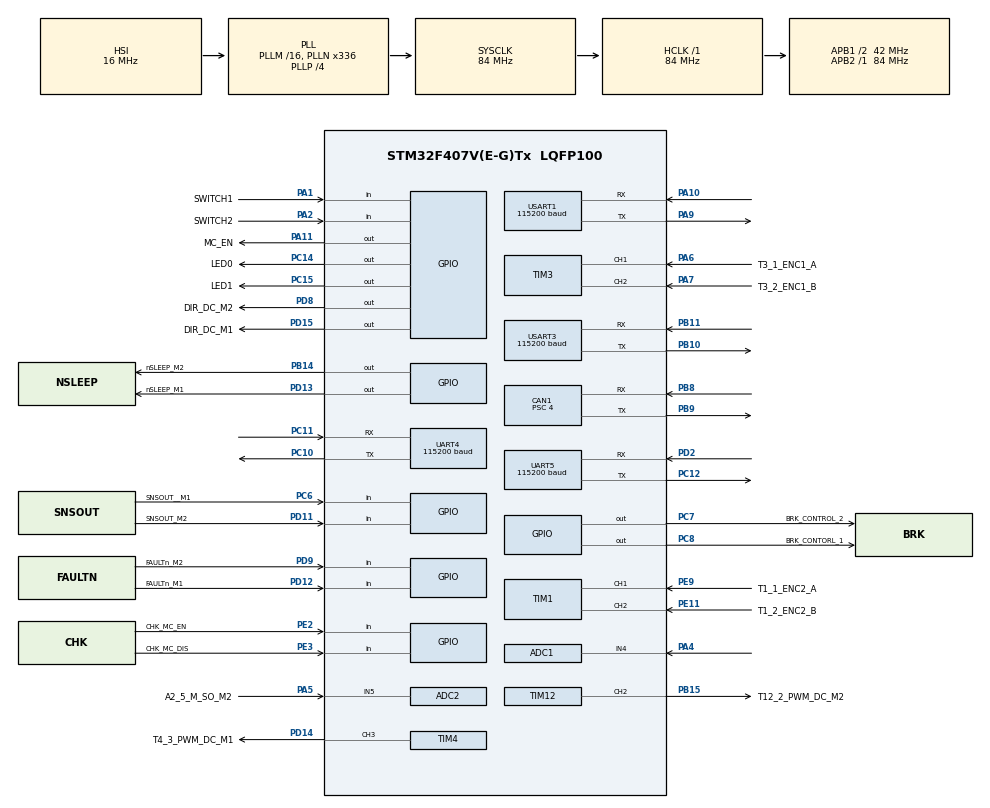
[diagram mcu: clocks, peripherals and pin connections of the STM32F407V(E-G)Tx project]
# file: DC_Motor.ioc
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ADC1.Channel-0\#ChannelRegularConversion=ADC_CHANNEL_4
ADC1.ClockPrescaler=ADC_CLOCK_SYNC_PCLK_DIV4
ADC1.NbrOfConversionFlag=1
ADC1.Rank-0\#ChannelRegularConversion=1
ADC1.SamplingTime-0\#ChannelRegularConversion=ADC_SAMPLETIME_3CYCLES
ADC1.master=1
ADC2.Channel-0\#ChannelRegularConversion=ADC_CHANNEL_5
ADC2.ClockPrescaler=ADC_CLOCK_SYNC_PCLK_DIV4
ADC2.NbrOfConversionFlag=1
ADC2.Rank-0\#ChannelRegularConversion=1
ADC2.SamplingTime-0\#ChannelRegularConversion=ADC_SAMPLETIME_3CYCLES
CAN1.BS1=CAN_BS1_14TQ
CAN1.BS2=CAN_BS2_6TQ
CAN1.CalculateBaudRate=500000
CAN1.CalculateTimeBit=2000
CAN1.CalculateTimeQuantum=95.23809523809524
CAN1.Prescaler=4
Dma.ADC2.2.Direction=DMA_PERIPH_TO_MEMORY
Dma.ADC2.2.FIFOMode=DMA_FIFOMODE_DISABLE
Dma.ADC2.2.Instance=DMA2_Stream3
Dma.ADC2.2.MemDataAlignment=DMA_MDATAALIGN_HALFWORD
Dma.ADC2.2.MemInc=DMA_MINC_ENABLE
Dma.ADC2.2.Mode=DMA_NORMAL
Dma.ADC2.2.PeriphDataAlignment=DMA_PDATAALIGN_HALFWORD
Dma.ADC2.2.PeriphInc=DMA_PINC_DISABLE
Dma.ADC2.2.Priority=DMA_PRIORITY_LOW
Dma.Request0=UART4_RX
Dma.Request1=USART3_RX
Dma.Request2=ADC2
Dma.Request3=USART1_RX
Dma.Request4=UART5_RX
Dma.UART4_RX.0.Direction=DMA_PERIPH_TO_MEMORY
Dma.UART4_RX.0.FIFOMode=DMA_FIFOMODE_DISABLE
Dma.UART4_RX.0.Instance=DMA1_Stream2
Dma.UART4_RX.0.MemDataAlignment=DMA_MDATAALIGN_BYTE
Dma.UART4_RX.0.MemInc=DMA_MINC_ENABLE
Dma.UART4_RX.0.Mode=DMA_CIRCULAR
Dma.UART4_RX.0.PeriphDataAlignment=DMA_PDATAALIGN_BYTE
Dma.UART4_RX.0.PeriphInc=DMA_PINC_DISABLE
Dma.UART4_RX.0.Priority=DMA_PRIORITY_LOW
Dma.UART5_RX.4.Direction=DMA_PERIPH_TO_MEMORY
Dma.UART5_RX.4.FIFOMode=DMA_FIFOMODE_DISABLE
Dma.UART5_RX.4.Instance=DMA1_Stream0
Dma.UART5_RX.4.MemDataAlignment=DMA_MDATAALIGN_BYTE
Dma.UART5_RX.4.MemInc=DMA_MINC_ENABLE
Dma.UART5_RX.4.Mode=DMA_NORMAL
Dma.UART5_RX.4.PeriphDataAlignment=DMA_PDATAALIGN_BYTE
Dma.UART5_RX.4.PeriphInc=DMA_PINC_DISABLE
Dma.UART5_RX.4.Priority=DMA_PRIORITY_LOW
Dma.USART1_RX.3.Direction=DMA_PERIPH_TO_MEMORY
Dma.USART1_RX.3.FIFOMode=DMA_FIFOMODE_DISABLE
Dma.USART1_RX.3.Instance=DMA2_Stream2
Dma.USART1_RX.3.MemDataAlignment=DMA_MDATAALIGN_BYTE
Dma.USART1_RX.3.MemInc=DMA_MINC_ENABLE
Dma.USART1_RX.3.Mode=DMA_NORMAL
Dma.USART1_RX.3.PeriphDataAlignment=DMA_PDATAALIGN_BYTE
Dma.USART1_RX.3.PeriphInc=DMA_PINC_DISABLE
Dma.USART1_RX.3.Priority=DMA_PRIORITY_VERY_HIGH
Dma.USART3_RX.1.Direction=DMA_PERIPH_TO_MEMORY
Dma.USART3_RX.1.FIFOMode=DMA_FIFOMODE_DISABLE
Dma.USART3_RX.1.Instance=DMA1_Stream1
Dma.USART3_RX.1.MemDataAlignment=DMA_MDATAALIGN_BYTE
Dma.USART3_RX.1.MemInc=DMA_MINC_ENABLE
Dma.USART3_RX.1.Mode=DMA_CIRCULAR
Dma.USART3_RX.1.PeriphDataAlignment=DMA_PDATAALIGN_BYTE
Dma.USART3_RX.1.PeriphInc=DMA_PINC_DISABLE
Dma.USART3_RX.1.Priority=DMA_PRIORITY_LOW
Mcu.Family=STM32F4
Mcu.Name=STM32F407V(E-G)Tx
Mcu.Package=LQFP100
NVIC.ADC_IRQn=true\:0\:0\:false\:false\:true\:true\:true\:true
NVIC.CAN1_RX0_IRQn=true\:0\:0\:false\:false\:true\:true\:true\:true
NVIC.CAN1_RX1_IRQn=true\:0\:0\:false\:false\:true\:true\:true\:true
NVIC.CAN1_SCE_IRQn=true\:0\:0\:false\:false\:true\:true\:true\:true
NVIC.CAN1_TX_IRQn=true\:0\:0\:false\:false\:true\:true\:true\:true
NVIC.DMA1_Stream0_IRQn=true\:0\:0\:false\:false\:true\:false\:true\:true
NVIC.DMA1_Stream1_IRQn=true\:0\:0\:false\:false\:true\:false\:true\:true
NVIC.DMA1_Stream2_IRQn=true\:0\:0\:false\:false\:true\:false\:true\:true
NVIC.DMA2_Stream2_IRQn=true\:0\:0\:false\:false\:true\:false\:true\:true
NVIC.DMA2_Stream3_IRQn=true\:0\:0\:false\:false\:true\:false\:true\:true
NVIC.PriorityGroup=NVIC_PRIORITYGROUP_0
NVIC.TIM1_UP_TIM10_IRQn=true\:0\:0\:false\:false\:true\:true\:true\:true
NVIC.TIM3_IRQn=true\:0\:0\:false\:false\:true\:true\:true\:true
NVIC.TIM4_IRQn=true\:0\:0\:false\:false\:true\:true\:true\:true
NVIC.TIM6_DAC_IRQn=true\:0\:0\:false\:false\:true\:true\:true\:true
NVIC.TIM7_IRQn=true\:0\:0\:false\:false\:true\:true\:true\:true
NVIC.TIM8_BRK_TIM12_IRQn=true\:0\:0\:false\:false\:true\:true\:true\:true
NVIC.UART4_IRQn=true\:0\:0\:false\:true\:true\:1\:true\:true\:true
NVIC.UART5_IRQn=true\:0\:0\:false\:true\:true\:2\:true\:true\:true
NVIC.USART1_IRQn=true\:0\:0\:false\:false\:true\:true\:true\:true
NVIC.USART3_IRQn=true\:0\:0\:false\:false\:true\:true\:true\:true
PA1.GPIO_Label=SWITCH1
PA1.GPIO_PuPd=GPIO_PULLUP
PA1.Signal=GPIO_Input
PA10.Mode=Asynchronous
PA10.Signal=USART1_RX
PA11.GPIO_Label=MC_EN
PA11.GPIO_PuPd=GPIO_PULLUP
PA11.PinState=GPIO_PIN_SET
PA11.Signal=GPIO_Output
PA13.Mode=Serial_Wire
PA13.Signal=SYS_JTMS-SWDIO
PA14.Mode=Serial_Wire
PA14.Signal=SYS_JTCK-SWCLK
PA2.GPIO_Label=SWITCH2
PA2.GPIO_PuPd=GPIO_PULLUP
PA2.Signal=GPIO_Input
PA4.Signal=ADCx_IN4
PA5.GPIO_Label=A2_5_M_SO_M2
PA5.Signal=ADCx_IN5
PA6.GPIO_Label=T3_1_ENC1_A
PA6.GPIO_Speed=GPIO_SPEED_FREQ_VERY_HIGH
PA6.Signal=S_TIM3_CH1
PA7.GPIO_Label=T3_2_ENC1_B
PA7.GPIO_Speed=GPIO_SPEED_FREQ_VERY_HIGH
PA7.Signal=S_TIM3_CH2
PA9.Mode=Asynchronous
PA9.Signal=USART1_TX
PB10.Mode=Asynchronous
PB10.Signal=USART3_TX
PB11.Mode=Asynchronous
PB11.Signal=USART3_RX
PB14.GPIO_Label=nSLEEP_M2
PB14.Signal=GPIO_Output
PB15.GPIO_Label=T12_2_PWM_DC_M2
PB15.Signal=S_TIM12_CH2
PB8.Mode=CAN_Activate
PB8.Signal=CAN1_RX
PB9.Mode=CAN_Activate
PB9.Signal=CAN1_TX
PC10.Mode=Asynchronous
PC10.Signal=UART4_TX
PC11.Mode=Asynchronous
PC11.Signal=UART4_RX
PC12.Mode=Asynchronous
PC12.Signal=UART5_TX
PC14-OSC32_IN.GPIO_Label=LED0
PC14-OSC32_IN.GPIO_PuPd=GPIO_PULLUP
PC14-OSC32_IN.PinState=GPIO_PIN_SET
PC14-OSC32_IN.Signal=GPIO_Output
PC15-OSC32_OUT.GPIO_Label=LED1
PC15-OSC32_OUT.GPIO_PuPd=GPIO_PULLUP
PC15-OSC32_OUT.PinState=GPIO_PIN_SET
PC15-OSC32_OUT.Signal=GPIO_Output
PC6.GPIO_Label=SNSOUT__M1
PC6.Signal=GPIO_Input
PC7.GPIO_Label=BRK_CONTROL_2
PC7.GPIO_PuPd=GPIO_PULLUP
PC7.PinState=GPIO_PIN_SET
PC7.Signal=GPIO_Output
PC8.GPIO_Label=BRK_CONTORL_1
PC8.GPIO_PuPd=GPIO_PULLUP
PC8.PinState=GPIO_PIN_SET
PC8.Signal=GPIO_Output
PD11.GPIO_Label=SNSOUT_M2
PD11.Signal=GPIO_Input
PD12.GPIO_Label=FAULTn_M1
PD12.Signal=GPIO_Input
PD13.GPIO_Label=nSLEEP_M1
PD13.GPIO_PuPd=GPIO_NOPULL
PD13.GPIO_Speed=GPIO_SPEED_FREQ_LOW
PD13.Signal=GPIO_Output
PD14.GPIO_Label=T4_3_PWM_DC_M1
PD14.Signal=S_TIM4_CH3
PD15.GPIO_Label=DIR_DC_M1
PD15.GPIO_PuPd=GPIO_PULLUP
PD15.GPIO_Speed=GPIO_SPEED_FREQ_VERY_HIGH
PD15.PinState=GPIO_PIN_SET
PD15.Signal=GPIO_Output
PD2.Mode=Asynchronous
PD2.Signal=UART5_RX
PD8.GPIO_Label=DIR_DC_M2
PD8.GPIO_PuPd=GPIO_PULLUP
PD8.GPIO_Speed=GPIO_SPEED_FREQ_VERY_HIGH
PD8.PinState=GPIO_PIN_SET
PD8.Signal=GPIO_Output
PD9.GPIO_Label=FAULTn_M2
PD9.Signal=GPIO_Input
PE11.GPIO_Label=T1_2_ENC2_B
PE11.Signal=S_TIM1_CH2
PE2.GPIO_Label=CHK_MC_EN
PE2.GPIO_PuPd=GPIO_PULLUP
PE2.Signal=GPIO_Input
PE3.GPIO_Label=CHK_MC_DIS
PE3.GPIO_PuPd=GPIO_PULLUP
PE3.Signal=GPIO_Input
PE9.GPIO_Label=T1_1_ENC2_A
PE9.Signal=S_TIM1_CH1
PH0-OSC_IN.Mode=HSE-External-Oscillator
PH0-OSC_IN.Signal=RCC_OSC_IN
PH1-OSC_OUT.Mode=HSE-External-Oscillator
PH1-OSC_OUT.Signal=RCC_OSC_OUT
ProjectManager.HeapSize=0x200
ProjectManager.StackSize=0x400
ProjectManager.TargetToolchain=STM32CubeIDE
RCC.48MHZClocksFreq_Value=48000000
RCC.AHBFreq_Value=84000000
RCC.APB1CLKDivider=RCC_HCLK_DIV2
RCC.APB1Freq_Value=42000000
RCC.APB1TimFreq_Value=84000000
RCC.APB2Freq_Value=84000000
RCC.APB2TimFreq_Value=84000000
RCC.CortexFreq_Value=84000000
RCC.HCLKFreq_Value=84000000
RCC.HSE_VALUE=8000000
RCC.HSI_VALUE=16000000
RCC.LSE_VALUE=32768
RCC.PLLN=336
RCC.PLLP=RCC_PLLP_DIV4
RCC.PLLQ=7
RCC.SYSCLKFreq_VALUE=84000000
RCC.SYSCLKSource=RCC_SYSCLKSOURCE_PLLCLK
RCC.VCOOutputFreq_Value=336000000
SH.ADCx_IN4.0=ADC1_IN4,IN4
SH.ADCx_IN4.1=ADC2_IN4,IN4
SH.ADCx_IN5.0=ADC2_IN5,IN5
SH.S_TIM12_CH2.0=TIM12_CH2,PWM Generation2 CH2
SH.S_TIM1_CH1.0=TIM1_CH1,Encoder_Interface
SH.S_TIM1_CH2.0=TIM1_CH2,Encoder_Interface
SH.S_TIM3_CH1.0=TIM3_CH1,Encoder_Interface
SH.S_TIM3_CH2.0=TIM3_CH2,Encoder_Interface
SH.S_TIM4_CH3.0=TIM4_CH3,PWM Generation3 CH3
TIM1.EncoderMode=TIM_ENCODERMODE_TI12
TIM12.Channel-PWM\ Generation2\ CH2=TIM_CHANNEL_2
TIM12.Period=3499
TIM3.EncoderMode=TIM_ENCODERMODE_TI12
TIM4.Channel-PWM\ Generation3\ CH3=TIM_CHANNEL_3
TIM4.Period=3499
TIM6.Period=10000-1
TIM6.Prescaler=8400-1
TIM7.Period=2000-1
TIM7.Prescaler=840-1
UART4.BaudRate=115200
UART4.VirtualMode=Asynchronous
UART5.BaudRate=115200
UART5.VirtualMode=Asynchronous
USART1.BaudRate=115200
USART1.VirtualMode=VM_ASYNC
USART3.BaudRate=115200
USART3.VirtualMode=VM_ASYNC
VP_TIM6_VS_ClockSourceINT.Mode=Enable_Timer
VP_TIM7_VS_ClockSourceINT.Mode=Enable_Timer
board=STM32F407G-DISC1

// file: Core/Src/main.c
/* USER CODE BEGIN Header */
/**
  ******************************************************************************
  * @file           : main.c
  * @brief          : Main program body
  ******************************************************************************
  * @attention
  *
  * Copyright (c) 2024 STMicroelectronics.
  * All rights reserved.
  *
  * This software is licensed under terms that can be found in the LICENSE file
  * in the root directory of this software component.
  * If no LICENSE file comes with this software, it is provided AS-IS.
  *
  ******************************************************************************
  */
/* USER CODE END Header */
#include "main.h"

/* USER CODE BEGIN Includes */
#include <string.h>
#include <stdio.h>
#include <stdlib.h>
#include <math.h>

/* USER CODE END Includes */

ADC_HandleTypeDef hadc1;
ADC_HandleTypeDef hadc2;
DMA_HandleTypeDef hdma_adc2;

CAN_HandleTypeDef hcan1;

TIM_HandleTypeDef htim1;
TIM_HandleTypeDef htim3;
TIM_HandleTypeDef htim4;
TIM_HandleTypeDef htim6;
TIM_HandleTypeDef htim7;
TIM_HandleTypeDef htim12;

UART_HandleTypeDef huart4;
UART_HandleTypeDef huart5;
UART_HandleTypeDef huart1;
UART_HandleTypeDef huart3;
DMA_HandleTypeDef hdma_uart4_rx;
DMA_HandleTypeDef hdma_uart5_rx;
DMA_HandleTypeDef hdma_usart1_rx;
DMA_HandleTypeDef hdma_usart3_rx;

void SystemClock_Config(void);
static void MX_GPIO_Init(void);
static void MX_DMA_Init(void);
static void MX_TIM3_Init(void);
static void MX_TIM4_Init(void);
static void MX_TIM1_Init(void);
static void MX_ADC1_Init(void);
static void MX_ADC2_Init(void);
static void MX_UART5_Init(void);
static void MX_TIM7_Init(void);
static void MX_TIM12_Init(void);
static void MX_UART4_Init(void);
static void MX_CAN1_Init(void);
static void MX_USART3_UART_Init(void);
static void MX_TIM6_Init(void);
static void MX_USART1_UART_Init(void);
static void MX_NVIC_Init(void);
/* USER CODE BEGIN PFP */

unsigned short calc_crc16(unsigned char *data, int len);

void HAL_UART_RxCpltCallback(UART_HandleTypeDef *huart);

#ifdef __GNUC__
#define PUTCHAR_PROTOTYPE int __io_putchar(int ch)
#else
#define PUTCHAR_PROTOTYPE int fputc(int ch, FILE *f)
#endif

PUTCHAR_PROTOTYPE{
   if (ch == '\n') HAL_UART_Transmit(&huart3, (uint8_t*)"\r", 1, 0xFFFF);
   HAL_UART_Transmit(&huart3, (uint8_t*)&ch, 1, 0xFFFF);
   return ch;
}
/* USER CODE END PFP */

/* USER CODE BEGIN 0 */

#define PI 3.141592
#define WHEEL_DIAMETER 0.34      //34cm
#define WHEEL_RADIUS 0.17
#define MOTOR_REDUCER   21.0   //gamsok bi = 21:1

#define PPR_MOTOR1 14400.0   // 3600*4
#define PPR_MOTOR2 14400.0

unsigned char direction_motor1 = 0;
unsigned char direction_motor2 = 0;
unsigned char direction_m1_check = 0;
unsigned char direction_m2_check = 0;

double wheel_1;
double wheel_2;
double wheel_1_distance;
double wheel_2_distance;
double delta_s;

//pwm variable
int motor1_enc_counter = 0;
int motor2_enc_counter = 0;

uint8_t msg_uwb[100];
uint8_t msg_app[100];

//timer variable
char flag = 0;
char flag_1 = 0;

int pwm_m1  = 0;
int pwm_m2  = 0;
unsigned int pwm_m1_final = 0;
unsigned int pwm_m2_final = 0;

int start_flag = 0;
int start_flag_1 = 0;
int start_flag_2 = 0;

//time period 20ms
#define TIME 0.02

float ENCODER1;
float ENCODER2;

int prev_motor1_enc_counter = 0;
int prev_motor2_enc_counter = 0;

void HAL_TIM_PeriodElapsedCallback(TIM_HandleTypeDef *htim)
{
   if(htim->Instance == TIM7)
   {//ENCODER
        start_flag = 1;
        motor1_enc_counter = TIM3->CNT;
        TIM3->CNT = 0;

        start_flag_1 ++;

        if(start_flag_1 >= 5)
        {
           start_flag_2 = 1;
           start_flag_1 = 5;
        }

        // 모터1 방향 ?   ???
     if (motor1_enc_counter <= 30000)
     {
       direction_m1_check = 1;  // ?   ???
     }
     else if (motor1_enc_counter >= 35535)
     {
       motor1_enc_counter = -(65535 - motor1_enc_counter);  // ?   ??? 보정
       direction_m1_check = 0;  // ?   ???
     }
     else
     {
       // ?  ?   값과 비교?  ?   방향 ?   ???
       if (motor1_enc_counter > prev_motor1_enc_counter)
       {
         direction_m1_check = 1;  // ?   ???
       }
       else
       {
         motor1_enc_counter = -(65535 - motor1_enc_counter);  // ?   ??? 보정
         direction_m1_check = 0;  // ?   ???
       }
     }

      motor2_enc_counter = TIM1->CNT;
      TIM1->CNT = 0;

      // 모터2 방향 ?   ???
     if (motor2_enc_counter <= 30000)
     {
       direction_m2_check = 1;  // ?   ???
     }
     else if (motor2_enc_counter >= 35535)
     {
       motor2_enc_counter = -(65535 - motor2_enc_counter);  // ?   ??? 보정
       direction_m2_check = 0;  // ?   ???
     }
     else
     {
       // ?  ?   값과 비교?  ?   방향 ?   ???
       if (motor2_enc_counter > prev_motor2_enc_counter)
       {
         direction_m2_check = 1;  // ?   ???
       }
       else
       {
         motor2_enc_counter = -(65535 - motor2_enc_counter);  // ?   ??? 보정
         direction_m2_check = 0;  // ?   ???
       }
     }

     ENCODER1 = motor1_enc_counter;
     ENCODER2 = motor2_enc_counter;

     //uint8_t TX_ENCODER[100];
     //sprintf((char*)TX_ENCODER, "ENCO_1 : %f, ENCO_2 : %f\r\n",ENCODER1 , ENCODER2);
     //HAL_UART_Transmit(&huart3,TX_ENCODER, strlen((const char *)TX_ENCODER), 100);

      // ?  ?   ?  코더  ??? ?  ?  ?  ?
      //prev_motor1_enc_counter = motor1_enc_counter;
      //prev_motor2_enc_counter = motor2_enc_counter;

      if(motor1_enc_counter - prev_motor1_enc_counter > 170 )
      {
         motor1_enc_counter = prev_motor1_enc_counter ;
      }
      else
      {
         prev_motor1_enc_counter = motor1_enc_counter ;
      }

      if(motor2_enc_counter - prev_motor2_enc_counter > 170 )
      {
        motor2_enc_counter = prev_motor2_enc_counter ;
      }
      else
      {
        prev_motor2_enc_counter = motor2_enc_counter ;
      }

      wheel_1 =  motor1_enc_counter*360.0/302400.0;
      wheel_2 =  motor2_enc_counter*360.0/302400.0;

      wheel_1_distance = WHEEL_RADIUS*wheel_1*2*PI/360.0;
      wheel_2_distance = WHEEL_RADIUS*wheel_2*2*PI/360.0;

      delta_s = (wheel_1_distance+wheel_2_distance)/2*100000;

      motor1_enc_counter = 0;
      motor2_enc_counter = 0;

      start_flag = 0;
   }

}

//CRC-16 function
unsigned short calc_crc16(unsigned char *data, int len) {
    unsigned short crc = 0xFFFF;
    int i, j;
    for (i = 0; i < len; i++) {
        crc ^= data[i];

        for (j = 0; j < 8; j++) {
            if (crc & 0x0001) {
                crc = (crc >> 1) ^ 0xA001;
            } else {
                crc = crc >> 1;
            }
        }
    }
    return crc;
}

//UWB Packet , uart5
//*********************************************************************************************//
// [0x11] [0x22] [speed_L] [speed_L] [speed_R] [speed_R] [CRC] [CRC] [0x08] [0x09] [0x10] [0xEE]
//*********************************************************************************************//

//uart5 ver
uint8_t rx_dma_data5[12] = {0,};
uint8_t UWB_Rx_index = 0;
uint8_t UWB_Rx_buf[12] = {0,};
uint8_t receive_flag_UWB = 0;
uint16_t UWB_PWM_R = 0;
uint16_t UWB_PWM_L = 0;

//uart4 var
uint8_t Rx_index4 = 0;
uint8_t Rx_buf4[100] = {0,};
uint8_t receive_flag4 = 0;
uint8_t app_flag = 0;
uint8_t app_state = 0;
uint16_t app_PWM_R = 0;
uint16_t app_PWM_L = 0;

unsigned char rx_dma_data4 = 0;

void HAL_UART_RxCpltCallback(UART_HandleTypeDef* huart)
{
   //UWB packet
   if(huart->Instance == UART5)
   {
      //HAL_GPIO_WritePin(GPIOD,GPIO_PIN_15,1); //dir_motor1 setting
      //HAL_GPIO_WritePin(GPIOD,GPIO_PIN_8,1); //dir_motor2 setting
      //HAL_UART_Transmit(&huart3, "hello\n\r", 6,100);
      for(int i = 0; i<12; i++)
      {
        UWB_Rx_buf[i] = rx_dma_data5[i];
      }
        //UWB_Rx_buf[UWB_Rx_index] = rx_dma_data5[UWB_Rx_index];
        //UWB_Rx_index++;

        if(UWB_Rx_buf[11] == 0xEE) //address check
        {
        	if(app_flag == 1)
        	{
        		receive_flag_UWB = 0;
        	}
        	else
        	{
        		receive_flag_UWB = 1;
        	}
        }

        if(receive_flag_UWB == 1)
        {
         if((UWB_Rx_buf[0] == 0x11) && (UWB_Rx_buf[1] == 0x22))
         {
            if(UWB_Rx_buf[10] == 0xaa)
            {
               HAL_GPIO_WritePin(GPIOD,GPIO_PIN_15,1); //dir_motor1 setting
               HAL_GPIO_WritePin(GPIOD,GPIO_PIN_8,1); //dir_motor2 setting
            }
            else if(UWB_Rx_buf[10] == 0xbb)
            {
               HAL_GPIO_WritePin(GPIOD,GPIO_PIN_15,1); //dir_motor1 setting
               HAL_GPIO_WritePin(GPIOD,GPIO_PIN_8,0); //dir_motor2 setting
            }
            else if(UWB_Rx_buf[10] == 0xcc)
            {
               HAL_GPIO_WritePin(GPIOD,GPIO_PIN_15,0); //dir_motor1 setting
               HAL_GPIO_WritePin(GPIOD,GPIO_PIN_8,1); //dir_motor2 setting
            }

            UWB_PWM_L = (UWB_Rx_buf[2] << 8) | (UWB_Rx_buf[3]) ;
            UWB_PWM_R = (UWB_Rx_buf[4] << 8) | (UWB_Rx_buf[5]) ;

            if(UWB_PWM_R >= 800)
            {
              UWB_PWM_R = 790;
            }
            else if(UWB_PWM_L >= 800)
            {
              UWB_PWM_L = 790;
            }

            __HAL_TIM_SetCompare(&htim4, TIM_CHANNEL_3,UWB_PWM_L); // MOTOR1 , UWB_PWM_L , sum_1
            __HAL_TIM_SetCompare(&htim12, TIM_CHANNEL_2,UWB_PWM_R); // MOTOR2 , UWB_PWM_R , sum_2
            sprintf((char*)msg_uwb, "%d\t %d\t \r\n", UWB_PWM_L, UWB_PWM_R);
            HAL_UART_Transmit_IT(&huart3, msg_uwb, sizeof(msg_uwb));
            receive_flag_UWB = 0;
         }
      }
        HAL_UART_Receive_DMA(&huart5, rx_dma_data5, 12);
   }

   if(huart->Instance == UART4)
   {
	  //HAL_UART_Transmit(&huart3, "hello\n\r", 6,100);
	  Rx_buf4[Rx_index4++] = rx_dma_data4;

	  if(Rx_buf4[Rx_index4 - 1] == 0x77)
	  {//address check
		receive_flag4 = 1;
		Rx_index4 = 0;
	  }

	  if(receive_flag4 == 1)
	  {
		  if(Rx_buf4[0] == 0xaa)
		  {//ON , UWB_OFF
			  app_flag = 1;
			  app_state++;
			  if(app_state == 1)
			  {//처음으로 버튼 누른 상황
				  app_PWM_R = 0;
				  app_PWM_L = 0;
			  }

			  if(Rx_buf4[1] == 0xfb)
			  {//wait
				  //값 유지
			  }
			  else if(Rx_buf4[1] == 0xfc)
			  {//reset
				 app_PWM_R = 0;
				 app_PWM_L = 0;
			  }
			  else if(Rx_buf4[1] == 0xab)
			  {//speed up
				  if(app_PWM_R >= 450 || app_PWM_L >= 450)
				  {//최고속도 제한
				  	  app_PWM_R = 450;
				  	  app_PWM_L = 450;
				  }
				  else
				  {
				  	  app_PWM_R += 50;
				  	  app_PWM_L += 50;
				  }
			  }
			  else if(Rx_buf4[1] == 0xac)
			  {//speed down
				  if(app_PWM_R <= 50 || app_PWM_L <= 50)
				  {//언더플로우 방지
					  app_PWM_R = 0;
					  app_PWM_L = 0;
				  }
				  else
				  {
					  app_PWM_R -= 50;
					  app_PWM_L -= 50;
				  }
			  }

			  if(Rx_buf4[2] == 0xcc)
			  {//forward
				  HAL_GPIO_WritePin(GPIOD,GPIO_PIN_15,1); //dir_motor1 setting
				  HAL_GPIO_WritePin(GPIOD,GPIO_PIN_8,1); //dir_motor2 setting
			  }
			  else if(Rx_buf4[2] == 0xdd)
			  {//turn left
				  HAL_GPIO_WritePin(GPIOD,GPIO_PIN_15,0); //dir_motor1 setting
				  HAL_GPIO_WritePin(GPIOD,GPIO_PIN_8,1); //dir_motor2 setting
			  }
			  else if(Rx_buf4[2] == 0xee)
			  {//turn right
				  HAL_GPIO_WritePin(GPIOD,GPIO_PIN_15,1); //dir_motor1 setting
				  HAL_GPIO_WritePin(GPIOD,GPIO_PIN_8,0); //dir_motor2 setting
			  }
			  else if(Rx_buf4[2] == 0xfa)
			  {//backward
				  HAL_GPIO_WritePin(GPIOD,GPIO_PIN_15,0); //dir_motor1 setting
				  HAL_GPIO_WritePin(GPIOD,GPIO_PIN_8,0); //dir_motor2 setting
			  }
		  }
		  else if(Rx_buf4[0] == 0xbb)
		  {//OFF , UWB_ON
			  app_flag = 0;
			  app_state = 0;
			  app_PWM_R = 0;
			  app_PWM_L = 0;
		  }

		 //uint8_t TX_TTTT[100];
		 //sprintf((char*)TX_TTTT, "%f, %f,%.4f\r\n",ENCODER2 , ENCODER1 ,yaw_angle);
		 //sprintf((char*)TX_TTTT, "%f, %f\r\n",ENCODER2 , ENCODER1);
		 //HAL_UART_Transmit(&huart3, TX_TTTT, strlen((const char *)TX_TTTT), 100);

		  __HAL_TIM_SetCompare(&htim4, TIM_CHANNEL_3,app_PWM_L);
		  __HAL_TIM_SetCompare(&htim12, TIM_CHANNEL_2,app_PWM_R);

		  sprintf((char*)msg_app, "%d\t %d\t %d\t \r\n", app_PWM_R, app_PWM_L , app_flag);
		  HAL_UART_Transmit_IT(&huart3, msg_app, sizeof(msg_app));
		  receive_flag4 = 0;
	  }

	   HAL_UART_Receive_DMA(&huart4,&rx_dma_data4, 1);
   }
}

/* USER CODE END 0 */

int main(void)
{

  /* MCU Configuration--------------------------------------------------------*/

  /* Reset of all peripherals, Initializes the Flash interface and the Systick. */
  HAL_Init();

  /* Configure the system clock */
  SystemClock_Config();

  /* Initialize all configured peripherals */
  MX_GPIO_Init();
  MX_DMA_Init();
  MX_TIM3_Init();
  MX_TIM4_Init();
  MX_TIM1_Init();
  MX_ADC1_Init();
  MX_ADC2_Init();
  MX_UART5_Init();
  MX_TIM7_Init();
  MX_TIM12_Init();
  MX_UART4_Init();
  MX_CAN1_Init();
  MX_USART3_UART_Init();
  MX_TIM6_Init();
  MX_USART1_UART_Init();

  /* Initialize interrupts */
  MX_NVIC_Init();
  /* USER CODE BEGIN 2 */

  HAL_GPIO_WritePin(GPIOA,GPIO_PIN_11,GPIO_PIN_SET); //mc_en set

  //MOTOR1 Setting
  HAL_GPIO_WritePin(GPIOD,GPIO_PIN_13,GPIO_PIN_SET); // nsleep set
  HAL_GPIO_WritePin(GPIOC,GPIO_PIN_8,GPIO_PIN_SET); // brk control set
  HAL_TIM_PWM_Start(&htim4, TIM_CHANNEL_3);
  //__HAL_TIM_SetCompare(&htim4, TIM_CHANNEL_3,200);

  //MOTOR2 Setting
  HAL_GPIO_WritePin(GPIOB,GPIO_PIN_14,GPIO_PIN_SET); // nsleep set
  HAL_GPIO_WritePin(GPIOD,GPIO_PIN_8,GPIO_PIN_RESET); // dir set
  HAL_GPIO_WritePin(GPIOC,GPIO_PIN_7,GPIO_PIN_SET); // brk control set
  HAL_TIM_PWM_Start(&htim12, TIM_CHANNEL_2);
  //__HAL_TIM_SetCompare(&htim12, TIM_CHANNEL_2,200);

  //UART Setting
  __HAL_UART_ENABLE_IT(&huart4,UART_IT_RXNE);
  __HAL_UART_ENABLE_IT(&huart5,UART_IT_RXNE);
  __HAL_UART_ENABLE_IT(&huart3,UART_IT_RXNE);
  __HAL_UART_ENABLE_IT(&huart3,UART_IT_TC);

  //-----------------
  HAL_TIM_Encoder_Start(&htim3, TIM_CHANNEL_1 | TIM_CHANNEL_2); // Start encoder mode
  HAL_TIM_Encoder_Start(&htim1, TIM_CHANNEL_1 | TIM_CHANNEL_2); // Start encoder mode

  //HAL_Delay(2000);
  __HAL_TIM_SetCompare(&htim4, TIM_CHANNEL_3,0); // test motor1
  __HAL_TIM_SetCompare(&htim12, TIM_CHANNEL_2,0); // test motor2
  //MOTOR1, MOTOR2 20ms timer start
  HAL_TIM_Base_Start_IT(&htim7); // Timer start
  //HAL_GPIO_TogglePin(GPIOC,GPIO_PIN_14);

  HAL_UART_Receive_DMA(&huart5, rx_dma_data5, 12); //uwb
  HAL_UART_Receive_DMA(&huart4,&rx_dma_data4, 1); //app

  //__HAL_TIM_SetCompare(&htim4, TIM_CHANNEL_3,320); // test motor1
  //__HAL_TIM_SetCompare(&htim12, TIM_CHANNEL_2,340); // test motor2
  HAL_GPIO_WritePin(GPIOD,GPIO_PIN_15,1); //dir_motor1 setting
  HAL_GPIO_WritePin(GPIOD,GPIO_PIN_8,1); //dir_motor2 setting
  /* USER CODE END 2 */

  /* Infinite loop */
  while (1)
  {

    /* USER CODE BEGIN 3 */
    // HAL_UART_Transmit(&huart3, "hello\n\r", 6,100);
  }
  /* USER CODE END 3 */
}

void SystemClock_Config(void)
{
  RCC_OscInitTypeDef RCC_OscInitStruct = {0};
  RCC_ClkInitTypeDef RCC_ClkInitStruct = {0};

  /** Configure the main internal regulator output voltage
  */
  __HAL_RCC_PWR_CLK_ENABLE();
  __HAL_PWR_VOLTAGESCALING_CONFIG(PWR_REGULATOR_VOLTAGE_SCALE1);

  /** Initializes the RCC Oscillators according to the specified parameters
  * in the RCC_OscInitTypeDef structure.
  */
  RCC_OscInitStruct.OscillatorType = RCC_OSCILLATORTYPE_HSI;
  RCC_OscInitStruct.HSIState = RCC_HSI_ON;
  RCC_OscInitStruct.HSICalibrationValue = RCC_HSICALIBRATION_DEFAULT;
  RCC_OscInitStruct.PLL.PLLState = RCC_PLL_ON;
  RCC_OscInitStruct.PLL.PLLSource = RCC_PLLSOURCE_HSI;
  RCC_OscInitStruct.PLL.PLLM = 16;
  RCC_OscInitStruct.PLL.PLLN = 336;
  RCC_OscInitStruct.PLL.PLLP = RCC_PLLP_DIV4;
  RCC_OscInitStruct.PLL.PLLQ = 7;
  if (HAL_RCC_OscConfig(&RCC_OscInitStruct) != HAL_OK)
  {
    Error_Handler();
  }

  /** Initializes the CPU, AHB and APB buses clocks
  */
  RCC_ClkInitStruct.ClockType = RCC_CLOCKTYPE_HCLK|RCC_CLOCKTYPE_SYSCLK
                              |RCC_CLOCKTYPE_PCLK1|RCC_CLOCKTYPE_PCLK2;
  RCC_ClkInitStruct.SYSCLKSource = RCC_SYSCLKSOURCE_PLLCLK;
  RCC_ClkInitStruct.AHBCLKDivider = RCC_SYSCLK_DIV1;
  RCC_ClkInitStruct.APB1CLKDivider = RCC_HCLK_DIV2;
  RCC_ClkInitStruct.APB2CLKDivider = RCC_HCLK_DIV1;

  if (HAL_RCC_ClockConfig(&RCC_ClkInitStruct, FLASH_LATENCY_2) != HAL_OK)
  {
    Error_Handler();
  }
}

/**
  * @brief NVIC Configuration.
  * @retval None
  */
static void MX_NVIC_Init(void)
{
  /* UART4_IRQn interrupt configuration */
  HAL_NVIC_SetPriority(UART4_IRQn, 0, 0);
  HAL_NVIC_EnableIRQ(UART4_IRQn);
  /* UART5_IRQn interrupt configuration */
  HAL_NVIC_SetPriority(UART5_IRQn, 0, 0);
  HAL_NVIC_EnableIRQ(UART5_IRQn);
}

static void MX_ADC1_Init(void)
{

  ADC_ChannelConfTypeDef sConfig = {0};

  /** Configure the global features of the ADC (Clock, Resolution, Data Alignment and number of conversion)
  */
  hadc1.Instance = ADC1;
  hadc1.Init.ClockPrescaler = ADC_CLOCK_SYNC_PCLK_DIV4;
  hadc1.Init.Resolution = ADC_RESOLUTION_12B;
  hadc1.Init.ScanConvMode = DISABLE;
  hadc1.Init.ContinuousConvMode = DISABLE;
  hadc1.Init.DiscontinuousConvMode = DISABLE;
  hadc1.Init.ExternalTrigConvEdge = ADC_EXTERNALTRIGCONVEDGE_NONE;
  hadc1.Init.ExternalTrigConv = ADC_SOFTWARE_START;
  hadc1.Init.DataAlign = ADC_DATAALIGN_RIGHT;
  hadc1.Init.NbrOfConversion = 1;
  hadc1.Init.DMAContinuousRequests = DISABLE;
  hadc1.Init.EOCSelection = ADC_EOC_SINGLE_CONV;
  if (HAL_ADC_Init(&hadc1) != HAL_OK)
  {
    Error_Handler();
  }

  /** Configure for the selected ADC regular channel its corresponding rank in the sequencer and its sample time.
  */
  sConfig.Channel = ADC_CHANNEL_4;
  sConfig.Rank = 1;
  sConfig.SamplingTime = ADC_SAMPLETIME_3CYCLES;
  if (HAL_ADC_ConfigChannel(&hadc1, &sConfig) != HAL_OK)
  {
    Error_Handler();
  }

}

static void MX_ADC2_Init(void)
{

  ADC_ChannelConfTypeDef sConfig = {0};

  /** Configure the global features of the ADC (Clock, Resolution, Data Alignment and number of conversion)
  */
  hadc2.Instance = ADC2;
  hadc2.Init.ClockPrescaler = ADC_CLOCK_SYNC_PCLK_DIV4;
  hadc2.Init.Resolution = ADC_RESOLUTION_12B;
  hadc2.Init.ScanConvMode = DISABLE;
  hadc2.Init.ContinuousConvMode = DISABLE;
  hadc2.Init.DiscontinuousConvMode = DISABLE;
  hadc2.Init.ExternalTrigConvEdge = ADC_EXTERNALTRIGCONVEDGE_NONE;
  hadc2.Init.ExternalTrigConv = ADC_SOFTWARE_START;
  hadc2.Init.DataAlign = ADC_DATAALIGN_RIGHT;
  hadc2.Init.NbrOfConversion = 1;
  hadc2.Init.DMAContinuousRequests = DISABLE;
  hadc2.Init.EOCSelection = ADC_EOC_SINGLE_CONV;
  if (HAL_ADC_Init(&hadc2) != HAL_OK)
  {
    Error_Handler();
  }

  /** Configure for the selected ADC regular channel its corresponding rank in the sequencer and its sample time.
  */
  sConfig.Channel = ADC_CHANNEL_5;
  sConfig.Rank = 1;
  sConfig.SamplingTime = ADC_SAMPLETIME_3CYCLES;
  if (HAL_ADC_ConfigChannel(&hadc2, &sConfig) != HAL_OK)
  {
    Error_Handler();
  }

}

static void MX_CAN1_Init(void)
{

  hcan1.Instance = CAN1;
  hcan1.Init.Prescaler = 4;
  hcan1.Init.Mode = CAN_MODE_NORMAL;
  hcan1.Init.SyncJumpWidth = CAN_SJW_1TQ;
  hcan1.Init.TimeSeg1 = CAN_BS1_14TQ;
  hcan1.Init.TimeSeg2 = CAN_BS2_6TQ;
  hcan1.Init.TimeTriggeredMode = DISABLE;
  hcan1.Init.AutoBusOff = DISABLE;
  hcan1.Init.AutoWakeUp = DISABLE;
  hcan1.Init.AutoRetransmission = DISABLE;
  hcan1.Init.ReceiveFifoLocked = DISABLE;
  hcan1.Init.TransmitFifoPriority = DISABLE;
  if (HAL_CAN_Init(&hcan1) != HAL_OK)
  {
    Error_Handler();
  }

}

static void MX_TIM1_Init(void)
{

  TIM_Encoder_InitTypeDef sConfig = {0};
  TIM_MasterConfigTypeDef sMasterConfig = {0};

  htim1.Instance = TIM1;
  htim1.Init.Prescaler = 0;
  htim1.Init.CounterMode = TIM_COUNTERMODE_UP;
  htim1.Init.Period = 65535;
  htim1.Init.ClockDivision = TIM_CLOCKDIVISION_DIV1;
  htim1.Init.RepetitionCounter = 0;
  htim1.Init.AutoReloadPreload = TIM_AUTORELOAD_PRELOAD_DISABLE;
  sConfig.EncoderMode = TIM_ENCODERMODE_TI12;
  sConfig.IC1Polarity = TIM_ICPOLARITY_RISING;
  sConfig.IC1Selection = TIM_ICSELECTION_DIRECTTI;
  sConfig.IC1Prescaler = TIM_ICPSC_DIV1;
  sConfig.IC1Filter = 0;
  sConfig.IC2Polarity = TIM_ICPOLARITY_RISING;
  sConfig.IC2Selection = TIM_ICSELECTION_DIRECTTI;
  sConfig.IC2Prescaler = TIM_ICPSC_DIV1;
  sConfig.IC2Filter = 0;
  if (HAL_TIM_Encoder_Init(&htim1, &sConfig) != HAL_OK)
  {
    Error_Handler();
  }
  sMasterConfig.MasterOutputTrigger = TIM_TRGO_RESET;
  sMasterConfig.MasterSlaveMode = TIM_MASTERSLAVEMODE_DISABLE;
  if (HAL_TIMEx_MasterConfigSynchronization(&htim1, &sMasterConfig) != HAL_OK)
  {
    Error_Handler();
  }

}

static void MX_TIM3_Init(void)
{

  TIM_Encoder_InitTypeDef sConfig = {0};
  TIM_MasterConfigTypeDef sMasterConfig = {0};

  htim3.Instance = TIM3;
  htim3.Init.Prescaler = 0;
  htim3.Init.CounterMode = TIM_COUNTERMODE_UP;
  htim3.Init.Period = 65535;
  htim3.Init.ClockDivision = TIM_CLOCKDIVISION_DIV1;
  htim3.Init.AutoReloadPreload = TIM_AUTORELOAD_PRELOAD_DISABLE;
  sConfig.EncoderMode = TIM_ENCODERMODE_TI12;
  sConfig.IC1Polarity = TIM_ICPOLARITY_RISING;
  sConfig.IC1Selection = TIM_ICSELECTION_DIRECTTI;
  sConfig.IC1Prescaler = TIM_ICPSC_DIV1;
  sConfig.IC1Filter = 0;
  sConfig.IC2Polarity = TIM_ICPOLARITY_RISING;
  sConfig.IC2Selection = TIM_ICSELECTION_DIRECTTI;
  sConfig.IC2Prescaler = TIM_ICPSC_DIV1;
  sConfig.IC2Filter = 0;
  if (HAL_TIM_Encoder_Init(&htim3, &sConfig) != HAL_OK)
  {
    Error_Handler();
  }
  sMasterConfig.MasterOutputTrigger = TIM_TRGO_RESET;
  sMasterConfig.MasterSlaveMode = TIM_MASTERSLAVEMODE_DISABLE;
  if (HAL_TIMEx_MasterConfigSynchronization(&htim3, &sMasterConfig) != HAL_OK)
  {
    Error_Handler();
  }

}

static void MX_TIM4_Init(void)
{

  TIM_MasterConfigTypeDef sMasterConfig = {0};
  TIM_OC_InitTypeDef sConfigOC = {0};

  htim4.Instance = TIM4;
  htim4.Init.Prescaler = 0;
  htim4.Init.CounterMode = TIM_COUNTERMODE_UP;
  htim4.Init.Period = 3499;
  htim4.Init.ClockDivision = TIM_CLOCKDIVISION_DIV1;
  htim4.Init.AutoReloadPreload = TIM_AUTORELOAD_PRELOAD_DISABLE;
  if (HAL_TIM_PWM_Init(&htim4) != HAL_OK)
  {
    Error_Handler();
  }
  sMasterConfig.MasterOutputTrigger = TIM_TRGO_RESET;
  sMasterConfig.MasterSlaveMode = TIM_MASTERSLAVEMODE_DISABLE;
  if (HAL_TIMEx_MasterConfigSynchronization(&htim4, &sMasterConfig) != HAL_OK)
  {
    Error_Handler();
  }
  sConfigOC.OCMode = TIM_OCMODE_PWM1;
  sConfigOC.Pulse = 0;
  sConfigOC.OCPolarity = TIM_OCPOLARITY_HIGH;
  sConfigOC.OCFastMode = TIM_OCFAST_DISABLE;
  if (HAL_TIM_PWM_ConfigChannel(&htim4, &sConfigOC, TIM_CHANNEL_3) != HAL_OK)
  {
    Error_Handler();
  }
  HAL_TIM_MspPostInit(&htim4);

}

static void MX_TIM6_Init(void)
{

  TIM_MasterConfigTypeDef sMasterConfig = {0};

  htim6.Instance = TIM6;
  htim6.Init.Prescaler = 8400-1;
  htim6.Init.CounterMode = TIM_COUNTERMODE_UP;
  htim6.Init.Period = 10000-1;
  htim6.Init.AutoReloadPreload = TIM_AUTORELOAD_PRELOAD_DISABLE;
  if (HAL_TIM_Base_Init(&htim6) != HAL_OK)
  {
    Error_Handler();
  }
  sMasterConfig.MasterOutputTrigger = TIM_TRGO_RESET;
  sMasterConfig.MasterSlaveMode = TIM_MASTERSLAVEMODE_DISABLE;
  if (HAL_TIMEx_MasterConfigSynchronization(&htim6, &sMasterConfig) != HAL_OK)
  {
    Error_Handler();
  }

}

static void MX_TIM7_Init(void)
{

  TIM_MasterConfigTypeDef sMasterConfig = {0};

  htim7.Instance = TIM7;
  htim7.Init.Prescaler = 840-1;
  htim7.Init.CounterMode = TIM_COUNTERMODE_UP;
  htim7.Init.Period = 2000-1;
  htim7.Init.AutoReloadPreload = TIM_AUTORELOAD_PRELOAD_DISABLE;
  if (HAL_TIM_Base_Init(&htim7) != HAL_OK)
  {
    Error_Handler();
  }
  sMasterConfig.MasterOutputTrigger = TIM_TRGO_RESET;
  sMasterConfig.MasterSlaveMode = TIM_MASTERSLAVEMODE_DISABLE;
  if (HAL_TIMEx_MasterConfigSynchronization(&htim7, &sMasterConfig) != HAL_OK)
  {
    Error_Handler();
  }

}

static void MX_TIM12_Init(void)
{

  TIM_OC_InitTypeDef sConfigOC = {0};

  htim12.Instance = TIM12;
  htim12.Init.Prescaler = 0;
  htim12.Init.CounterMode = TIM_COUNTERMODE_UP;
  htim12.Init.Period = 3499;
  htim12.Init.ClockDivision = TIM_CLOCKDIVISION_DIV1;
  htim12.Init.AutoReloadPreload = TIM_AUTORELOAD_PRELOAD_DISABLE;
  if (HAL_TIM_PWM_Init(&htim12) != HAL_OK)
  {
    Error_Handler();
  }
  sConfigOC.OCMode = TIM_OCMODE_PWM1;
  sConfigOC.Pulse = 0;
  sConfigOC.OCPolarity = TIM_OCPOLARITY_HIGH;
  sConfigOC.OCFastMode = TIM_OCFAST_DISABLE;
  if (HAL_TIM_PWM_ConfigChannel(&htim12, &sConfigOC, TIM_CHANNEL_2) != HAL_OK)
  {
    Error_Handler();
  }
  HAL_TIM_MspPostInit(&htim12);

}

static void MX_UART4_Init(void)
{

  huart4.Instance = UART4;
  huart4.Init.BaudRate = 115200;
  huart4.Init.WordLength = UART_WORDLENGTH_8B;
  huart4.Init.StopBits = UART_STOPBITS_1;
  huart4.Init.Parity = UART_PARITY_NONE;
  huart4.Init.Mode = UART_MODE_TX_RX;
  huart4.Init.HwFlowCtl = UART_HWCONTROL_NONE;
  huart4.Init.OverSampling = UART_OVERSAMPLING_16;
  if (HAL_UART_Init(&huart4) != HAL_OK)
  {
    Error_Handler();
  }

}

static void MX_UART5_Init(void)
{

  huart5.Instance = UART5;
  huart5.Init.BaudRate = 115200;
  huart5.Init.WordLength = UART_WORDLENGTH_8B;
  huart5.Init.StopBits = UART_STOPBITS_1;
  huart5.Init.Parity = UART_PARITY_NONE;
  huart5.Init.Mode = UART_MODE_TX_RX;
  huart5.Init.HwFlowCtl = UART_HWCONTROL_NONE;
  huart5.Init.OverSampling = UART_OVERSAMPLING_16;
  if (HAL_UART_Init(&huart5) != HAL_OK)
  {
    Error_Handler();
  }

}

static void MX_USART1_UART_Init(void)
{

  huart1.Instance = USART1;
  huart1.Init.BaudRate = 115200;
  huart1.Init.WordLength = UART_WORDLENGTH_8B;
  huart1.Init.StopBits = UART_STOPBITS_1;
  huart1.Init.Parity = UART_PARITY_NONE;
  huart1.Init.Mode = UART_MODE_TX_RX;
  huart1.Init.HwFlowCtl = UART_HWCONTROL_NONE;
  huart1.Init.OverSampling = UART_OVERSAMPLING_16;
  if (HAL_UART_Init(&huart1) != HAL_OK)
  {
    Error_Handler();
  }

}

static void MX_USART3_UART_Init(void)
{

  huart3.Instance = USART3;
  huart3.Init.BaudRate = 115200;
  huart3.Init.WordLength = UART_WORDLENGTH_8B;
  huart3.Init.StopBits = UART_STOPBITS_1;
  huart3.Init.Parity = UART_PARITY_NONE;
  huart3.Init.Mode = UART_MODE_TX_RX;
  huart3.Init.HwFlowCtl = UART_HWCONTROL_NONE;
  huart3.Init.OverSampling = UART_OVERSAMPLING_16;
  if (HAL_UART_Init(&huart3) != HAL_OK)
  {
    Error_Handler();
  }

}

static void MX_DMA_Init(void)
{

  /* DMA controller clock enable */
  __HAL_RCC_DMA1_CLK_ENABLE();
  __HAL_RCC_DMA2_CLK_ENABLE();

  /* DMA interrupt init */
  /* DMA1_Stream0_IRQn interrupt configuration */
  HAL_NVIC_SetPriority(DMA1_Stream0_IRQn, 0, 0);
  HAL_NVIC_EnableIRQ(DMA1_Stream0_IRQn);
  /* DMA1_Stream1_IRQn interrupt configuration */
  HAL_NVIC_SetPriority(DMA1_Stream1_IRQn, 0, 0);
  HAL_NVIC_EnableIRQ(DMA1_Stream1_IRQn);
  /* DMA1_Stream2_IRQn interrupt configuration */
  HAL_NVIC_SetPriority(DMA1_Stream2_IRQn, 0, 0);
  HAL_NVIC_EnableIRQ(DMA1_Stream2_IRQn);
  /* DMA2_Stream2_IRQn interrupt configuration */
  HAL_NVIC_SetPriority(DMA2_Stream2_IRQn, 0, 0);
  HAL_NVIC_EnableIRQ(DMA2_Stream2_IRQn);
  /* DMA2_Stream3_IRQn interrupt configuration */
  HAL_NVIC_SetPriority(DMA2_Stream3_IRQn, 0, 0);
  HAL_NVIC_EnableIRQ(DMA2_Stream3_IRQn);

}

static void MX_GPIO_Init(void)
{
  GPIO_InitTypeDef GPIO_InitStruct = {0};

  /* GPIO Ports Clock Enable */
  __HAL_RCC_GPIOE_CLK_ENABLE();
  __HAL_RCC_GPIOC_CLK_ENABLE();
  __HAL_RCC_GPIOH_CLK_ENABLE();
  __HAL_RCC_GPIOA_CLK_ENABLE();
  __HAL_RCC_GPIOB_CLK_ENABLE();
  __HAL_RCC_GPIOD_CLK_ENABLE();

  /*Configure GPIO pin Output Level */
  HAL_GPIO_WritePin(GPIOC, LED0_Pin|LED1_Pin|BRK_CONTROL_2_Pin|BRK_CONTORL_1_Pin, GPIO_PIN_SET);

  /*Configure GPIO pin Output Level */
  HAL_GPIO_WritePin(nSLEEP_M2_GPIO_Port, nSLEEP_M2_Pin, GPIO_PIN_RESET);

  /*Configure GPIO pin Output Level */
  HAL_GPIO_WritePin(GPIOD, DIR_DC_M2_Pin|DIR_DC_M1_Pin, GPIO_PIN_SET);

  /*Configure GPIO pin Output Level */
  HAL_GPIO_WritePin(nSLEEP_M1_GPIO_Port, nSLEEP_M1_Pin, GPIO_PIN_RESET);

  /*Configure GPIO pin Output Level */
  HAL_GPIO_WritePin(MC_EN_GPIO_Port, MC_EN_Pin, GPIO_PIN_SET);

  /*Configure GPIO pins : CHK_MC_EN_Pin CHK_MC_DIS_Pin */
  GPIO_InitStruct.Pin = CHK_MC_EN_Pin|CHK_MC_DIS_Pin;
  GPIO_InitStruct.Mode = GPIO_MODE_INPUT;
  GPIO_InitStruct.Pull = GPIO_PULLUP;
  HAL_GPIO_Init(GPIOE, &GPIO_InitStruct);

  /*Configure GPIO pins : LED0_Pin LED1_Pin BRK_CONTROL_2_Pin BRK_CONTORL_1_Pin */
  GPIO_InitStruct.Pin = LED0_Pin|LED1_Pin|BRK_CONTROL_2_Pin|BRK_CONTORL_1_Pin;
  GPIO_InitStruct.Mode = GPIO_MODE_OUTPUT_PP;
  GPIO_InitStruct.Pull = GPIO_PULLUP;
  GPIO_InitStruct.Speed = GPIO_SPEED_FREQ_LOW;
  HAL_GPIO_Init(GPIOC, &GPIO_InitStruct);

  /*Configure GPIO pins : SWITCH1_Pin SWITCH2_Pin */
  GPIO_InitStruct.Pin = SWITCH1_Pin|SWITCH2_Pin;
  GPIO_InitStruct.Mode = GPIO_MODE_INPUT;
  GPIO_InitStruct.Pull = GPIO_PULLUP;
  HAL_GPIO_Init(GPIOA, &GPIO_InitStruct);

  /*Configure GPIO pin : nSLEEP_M2_Pin */
  GPIO_InitStruct.Pin = nSLEEP_M2_Pin;
  GPIO_InitStruct.Mode = GPIO_MODE_OUTPUT_PP;
  GPIO_InitStruct.Pull = GPIO_NOPULL;
  GPIO_InitStruct.Speed = GPIO_SPEED_FREQ_LOW;
  HAL_GPIO_Init(nSLEEP_M2_GPIO_Port, &GPIO_InitStruct);

  /*Configure GPIO pins : DIR_DC_M2_Pin DIR_DC_M1_Pin */
  GPIO_InitStruct.Pin = DIR_DC_M2_Pin|DIR_DC_M1_Pin;
  GPIO_InitStruct.Mode = GPIO_MODE_OUTPUT_PP;
  GPIO_InitStruct.Pull = GPIO_PULLUP;
  GPIO_InitStruct.Speed = GPIO_SPEED_FREQ_VERY_HIGH;
  HAL_GPIO_Init(GPIOD, &GPIO_InitStruct);

  /*Configure GPIO pins : FAULTn_M2_Pin SNSOUT_M2_Pin FAULTn_M1_Pin */
  GPIO_InitStruct.Pin = FAULTn_M2_Pin|SNSOUT_M2_Pin|FAULTn_M1_Pin;
  GPIO_InitStruct.Mode = GPIO_MODE_INPUT;
  GPIO_InitStruct.Pull = GPIO_NOPULL;
  HAL_GPIO_Init(GPIOD, &GPIO_InitStruct);

  /*Configure GPIO pin : nSLEEP_M1_Pin */
  GPIO_InitStruct.Pin = nSLEEP_M1_Pin;
  GPIO_InitStruct.Mode = GPIO_MODE_OUTPUT_PP;
  GPIO_InitStruct.Pull = GPIO_NOPULL;
  GPIO_InitStruct.Speed = GPIO_SPEED_FREQ_LOW;
  HAL_GPIO_Init(nSLEEP_M1_GPIO_Port, &GPIO_InitStruct);

  /*Configure GPIO pin : SNSOUT__M1_Pin */
  GPIO_InitStruct.Pin = SNSOUT__M1_Pin;
  GPIO_InitStruct.Mode = GPIO_MODE_INPUT;
  GPIO_InitStruct.Pull = GPIO_NOPULL;
  HAL_GPIO_Init(SNSOUT__M1_GPIO_Port, &GPIO_InitStruct);

  /*Configure GPIO pin : MC_EN_Pin */
  GPIO_InitStruct.Pin = MC_EN_Pin;
  GPIO_InitStruct.Mode = GPIO_MODE_OUTPUT_PP;
  GPIO_InitStruct.Pull = GPIO_PULLUP;
  GPIO_InitStruct.Speed = GPIO_SPEED_FREQ_LOW;
  HAL_GPIO_Init(MC_EN_GPIO_Port, &GPIO_InitStruct);

}

void Error_Handler(void)
{
}
